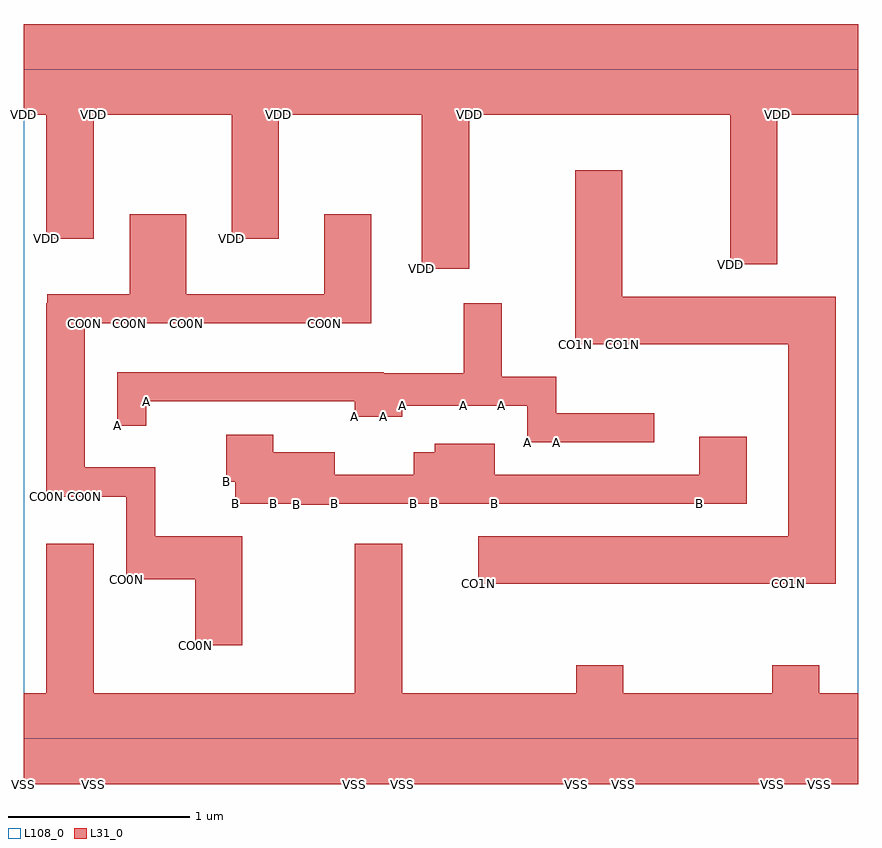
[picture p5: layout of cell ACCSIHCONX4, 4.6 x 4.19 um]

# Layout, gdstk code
import gdstk
lib = gdstk.Library(unit=1e-6, precision=1e-09)
def R(c, l, rs):  # rectangles x0, y0, x1, y1
    for r in rs: c.add(gdstk.rectangle(r[:2], r[2:], *l))
L31_0 = (31, 0)
L108_0 = (108, 0)

accsihconx4 = lib.new_cell('ACCSIHCONX4')
R(accsihconx4, L31_0, [(0,-0.25,0.125,0.25), (0.125,-0.25,0.385,1.075), (0.385,-0.25,1.825,0.25), (1.825,-0.25,2.085,1.075), (2.085,-0.25,3.045,0.25), (3.045,-0.25,3.305,0.405), (3.305,-0.25,4.125,0.25), (4.125,-0.25,4.385,0.405), (4.385,-0.25,4.6,0.25), (0.945,0.515,1.205,1.115), (2.505,0.855,4.215,1.115), (4.215,0.855,4.475,2.435), (0.565,0.88,0.725,1.495), (0.725,0.88,0.945,1.115), (1.505,1.29,1.715,1.58), (1.165,1.295,1.375,1.675), (1.375,1.295,1.505,1.58), (1.715,1.295,2.15,1.455), (2.15,1.295,2.265,1.58), (2.265,1.295,2.595,1.625), (2.595,1.295,3.725,1.455), (3.725,1.295,3.985,1.665), (0.125,1.335,0.13,2.4), (0.13,1.335,0.335,2.45), (0.335,1.335,0.565,1.495), (1.115,1.415,1.165,1.675), (2.775,1.635,2.935,1.995), (2.935,1.635,3.475,1.795), (0.515,1.725,0.675,2.02), (1.825,1.775,1.985,2.02), (1.985,1.775,2.085,2.015), (2.085,1.835,2.425,2.015), (2.425,1.835,2.635,2.4), (2.635,1.835,2.775,1.995), (0.675,1.86,1.825,2.02), (3.04,2.175,3.3,3.135), (3.3,2.175,4.215,2.435), (0.335,2.29,0.585,2.45), (0.585,2.29,0.895,2.89), (0.895,2.29,1.655,2.45), (1.655,2.29,1.915,2.89), (2.195,2.59,2.455,3.94), (3.895,2.615,4.155,3.94), (0.125,2.755,0.385,3.94), (1.145,2.755,1.405,3.94), (0,3.44,0.125,3.94), (0.385,3.44,1.145,3.94), (1.405,3.44,2.195,3.94), (2.455,3.44,3.895,3.94), (4.155,3.44,4.6,3.94)])
R(accsihconx4, L108_0, [(0,0,4.6,3.69)])
accsihconx4.add(gdstk.Label('CO1N', (3.04,2.175), layer=131, texttype=0))
accsihconx4.add(gdstk.Label('CO1N', (3.3,2.175), layer=131, texttype=0))
accsihconx4.add(gdstk.Label('CO1N', (2.505,0.855), layer=131, texttype=0))
accsihconx4.add(gdstk.Label('CO1N', (4.215,0.855), layer=131, texttype=0))
accsihconx4.add(gdstk.Label('CO0N', (0.125,1.335), layer=131, texttype=0))
accsihconx4.add(gdstk.Label('CO0N', (0.13,1.335), layer=131, texttype=0))
accsihconx4.add(gdstk.Label('CO0N', (0.335,1.335), layer=131, texttype=0))
accsihconx4.add(gdstk.Label('CO0N', (0.335,2.29), layer=131, texttype=0))
accsihconx4.add(gdstk.Label('CO0N', (0.565,0.88), layer=131, texttype=0))
accsihconx4.add(gdstk.Label('CO0N', (0.585,2.29), layer=131, texttype=0))
accsihconx4.add(gdstk.Label('CO0N', (0.725,0.88), layer=131, texttype=0))
accsihconx4.add(gdstk.Label('CO0N', (0.945,0.515), layer=131, texttype=0))
accsihconx4.add(gdstk.Label('CO0N', (0.895,2.29), layer=131, texttype=0))
accsihconx4.add(gdstk.Label('CO0N', (1.655,2.29), layer=131, texttype=0))
accsihconx4.add(gdstk.Label('B', (1.115,1.415), layer=131, texttype=0))
accsihconx4.add(gdstk.Label('B', (1.165,1.295), layer=131, texttype=0))
accsihconx4.add(gdstk.Label('B', (1.375,1.295), layer=131, texttype=0))
accsihconx4.add(gdstk.Label('B', (1.505,1.29), layer=131, texttype=0))
accsihconx4.add(gdstk.Label('B', (1.715,1.295), layer=131, texttype=0))
accsihconx4.add(gdstk.Label('B', (2.15,1.295), layer=131, texttype=0))
accsihconx4.add(gdstk.Label('B', (2.265,1.295), layer=131, texttype=0))
accsihconx4.add(gdstk.Label('B', (2.595,1.295), layer=131, texttype=0))
accsihconx4.add(gdstk.Label('B', (3.725,1.295), layer=131, texttype=0))
accsihconx4.add(gdstk.Label('A', (0.515,1.725), layer=131, texttype=0))
accsihconx4.add(gdstk.Label('A', (0.675,1.86), layer=131, texttype=0))
accsihconx4.add(gdstk.Label('A', (1.825,1.775), layer=131, texttype=0))
accsihconx4.add(gdstk.Label('A', (1.985,1.775), layer=131, texttype=0))
accsihconx4.add(gdstk.Label('A', (2.085,1.835), layer=131, texttype=0))
accsihconx4.add(gdstk.Label('A', (2.425,1.835), layer=131, texttype=0))
accsihconx4.add(gdstk.Label('A', (2.635,1.835), layer=131, texttype=0))
accsihconx4.add(gdstk.Label('A', (2.775,1.635), layer=131, texttype=0))
accsihconx4.add(gdstk.Label('A', (2.935,1.635), layer=131, texttype=0))
accsihconx4.add(gdstk.Label('VSS', (0,-0.25), layer=131, texttype=0))
accsihconx4.add(gdstk.Label('VSS', (0.125,-0.25), layer=131, texttype=0))
accsihconx4.add(gdstk.Label('VSS', (0.385,-0.25), layer=131, texttype=0))
accsihconx4.add(gdstk.Label('VSS', (1.825,-0.25), layer=131, texttype=0))
accsihconx4.add(gdstk.Label('VSS', (2.085,-0.25), layer=131, texttype=0))
accsihconx4.add(gdstk.Label('VSS', (3.045,-0.25), layer=131, texttype=0))
accsihconx4.add(gdstk.Label('VSS', (3.305,-0.25), layer=131, texttype=0))
accsihconx4.add(gdstk.Label('VSS', (4.125,-0.25), layer=131, texttype=0))
accsihconx4.add(gdstk.Label('VSS', (4.385,-0.25), layer=131, texttype=0))
accsihconx4.add(gdstk.Label('VDD', (0,3.44), layer=131, texttype=0))
accsihconx4.add(gdstk.Label('VDD', (0.125,2.755), layer=131, texttype=0))
accsihconx4.add(gdstk.Label('VDD', (0.385,3.44), layer=131, texttype=0))
accsihconx4.add(gdstk.Label('VDD', (1.145,2.755), layer=131, texttype=0))
accsihconx4.add(gdstk.Label('VDD', (1.405,3.44), layer=131, texttype=0))
accsihconx4.add(gdstk.Label('VDD', (2.195,2.59), layer=131, texttype=0))
accsihconx4.add(gdstk.Label('VDD', (2.455,3.44), layer=131, texttype=0))
accsihconx4.add(gdstk.Label('VDD', (3.895,2.615), layer=131, texttype=0))
accsihconx4.add(gdstk.Label('VDD', (4.155,3.44), layer=131, texttype=0))

lib.write_gds('ACCSIHCONX4.gds')
